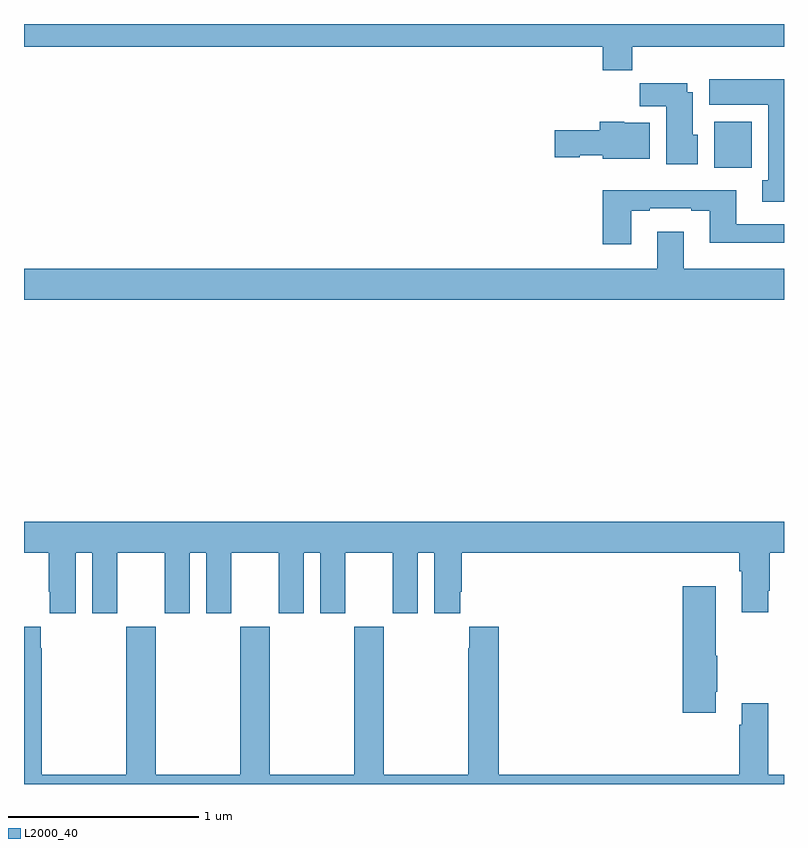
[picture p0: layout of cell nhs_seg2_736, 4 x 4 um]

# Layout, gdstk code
import gdstk
lib = gdstk.Library(unit=1e-6, precision=1e-09)
def R(c, l, rs):  # rectangles x0, y0, x1, y1
    for r in rs: c.add(gdstk.rectangle(r[:2], r[2:], *l))
def P(c, l, *ps):  # polygons
    for p in ps: c.add(gdstk.Polygon(p, *l))
L2000_40 = (2000, 40)

nhs_seg2_736 = lib.new_cell('nhs_seg2_736')
R(nhs_seg2_736, L2000_40, [(152.633,603.044,152.83,603.286)])
P(nhs_seg2_736, L2000_40, [(152.201,603.68),(153,603.68),(153,603.8),(149,603.8),(149,603.68),(152.045,603.68),(152.045,603.556),(152.201,603.556)],
  [(153,603.508),(152.606,603.508),(152.606,603.374),(152.918,603.374),(152.918,602.978),(152.885,602.978),(152.885,602.865),(153,602.865)],
  [(152.545,603.216),(152.521,603.216),(152.521,603.442),(152.491,603.442),(152.491,603.487),(152.242,603.487),(152.242,603.368),(152.381,603.368),(152.381,603.062),(152.545,603.062)],
  [(152.293,603.28),(152.16,603.28),(152.16,603.286),(152.03,603.286),(152.03,603.24),(151.794,603.24),(151.794,603.098),(151.926,603.098),(151.926,603.11),(152.046,603.11),(152.046,603.092),(152.293,603.092)],
  [(152.197,602.817),(152.293,602.817),(152.293,602.829),(152.513,602.829),(152.513,602.817),(152.609,602.817),(152.609,602.648),(153,602.648),(153,602.745),(152.749,602.745),(152.749,602.926),(152.045,602.926),(152.045,602.64),(152.197,602.64)],
  [(153,602.512),(152.473,602.512),(152.473,602.707),(152.333,602.707),(152.333,602.512),(149,602.512),(149,602.348),(153,602.348)],
  [(149.272,601.016),(149.36,601.016),(149.36,600.699),(149.491,600.699),(149.491,601.016),(149.741,601.016),(149.741,600.699),(149.872,600.699),(149.872,601.016),(149.96,601.016),(149.96,600.699),(150.091,600.699),(150.091,601.016),(150.341,601.016),(150.341,600.699),(150.472,600.699),(150.472,601.016),(150.56,601.016),(150.56,600.699),(150.691,600.699),(150.691,601.016),(150.941,601.016),(150.941,600.699),(151.072,600.699),(151.072,601.016),(151.16,601.016),(151.16,600.699),(151.297,600.699),(151.297,600.811),(151.304,600.811),(151.304,601.016),(152.765,601.016),(152.765,600.92),(152.777,600.92),(152.777,600.705),(152.917,600.705),(152.917,600.817),(152.925,600.817),(152.925,601.016),(153,601.016),(153,601.18),(149,601.18),(149,601.016),(149.129,601.016),(149.129,600.811),(149.135,600.811),(149.135,600.699),(149.272,600.699)],
  [(152.641,600.286),(152.649,600.286),(152.649,600.475),(152.641,600.475),(152.641,600.841),(152.468,600.841),(152.468,600.174),(152.641,600.174)],
  [(149.694,600.628),(149.539,600.628),(149.539,599.848),(149.094,599.848),(149.094,600.515),(149.089,600.515),(149.089,600.628),(149,600.628),(149,599.8),(153,599.8),(153,599.848),(152.917,599.848),(152.917,600.226),(152.777,600.226),(152.777,600.113),(152.765,600.113),(152.765,599.848),(151.499,599.848),(151.499,600.628),(151.343,600.628),(151.343,600.515),(151.339,600.515),(151.339,599.848),(150.894,599.848),(150.894,600.628),(150.739,600.628),(150.739,599.848),(150.294,599.848),(150.294,600.628),(150.139,600.628),(150.139,599.848),(149.694,599.848)])

lib.write_gds('nhs_seg2_736.gds')
